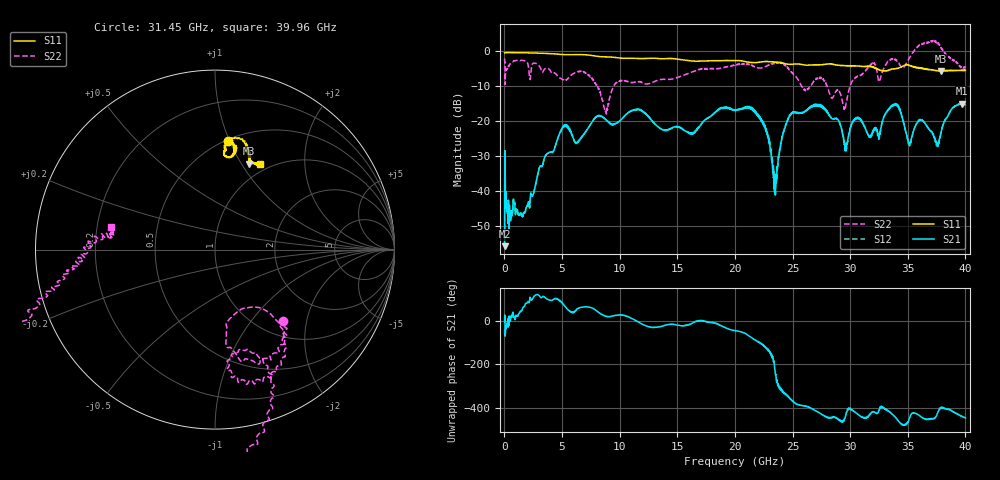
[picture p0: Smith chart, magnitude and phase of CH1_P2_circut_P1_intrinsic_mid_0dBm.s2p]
!Keysight Technologies,N5222B,MY61257109,A.17.25.03
!Date: Tuesday, July 21, 2026 12:10:29
!Correction: S11(C  2-Port  )
!S21(C  2-Port  )
!S12(C  2-Port  )
!S22(C  2-Port  )
!S2P File: Measurements: S11, S21, S12, S22:
# Hz S  dB  R 50
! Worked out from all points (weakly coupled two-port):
!   4000 points, 10 MHz to 40 GHz, reference 50 ohm
!   highest |S21| = -15.01 dB at 39.71 GHz (marker M1); lowest = -55.9 dB at 10 MHz (marker M2)
!   lowest |S11| = -5.8 dB at 37.9 GHz (marker M3), VSWR 3.12, Z = 41.3 + j53.9 ohm
!   |S11| at or under -10 dB: nowhere
!   |S22| runs from -18.0 to 3.1 dB; largest |S21 - S12| = 0.011
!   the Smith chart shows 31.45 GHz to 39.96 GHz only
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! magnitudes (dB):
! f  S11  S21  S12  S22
! 10 MHz  -0.5  -55.9  -55.8  -2.2
! 1.71 GHz  -0.5  -46.2  -46.2  -2.7
! 5.09 GHz  -1.0  -21.8  -21.8  -8.2
! 6.68 GHz  -1.0  -24.6  -24.6  -5.9
! 8.78 GHz  -1.6  -19.6  -19.6  -17.2
! 9.83 GHz  -1.9  -20.4  -20.4  -8.9
! 13.34 GHz  -2.1  -21.7  -21.7  -8.3
! 20.01 GHz  -2.7  -17.0  -17.0  -4.0
! 22.34 GHz  -3.1  -20.4  -20.3  -4.8
! 23.48 GHz  -3.2  -40.7  -36.3  -3.3
! 24.68 GHz  -3.8  -19.0  -19.1  -5.3
! 26.67 GHz  -3.9  -15.9  -16.0  -9.6
! 29.62 GHz  -4.2  -27.1  -27.2  -15.5
! 30.43 GHz  -4.2  -19.6  -19.3  -7.6
! 32.47 GHz  -5.3  -24.6  -24.1  -8.6
! 33.34 GHz  -5.5  -16.5  -16.8  -2.9
! 34.17 GHz  -4.9  -16.0  -16.0  -3.3
! 35.12 GHz  -4.1  -26.3  -26.4  -2.1
! 36.07 GHz  -4.9  -19.8  -19.7  1.8
! 37.9 GHz  -5.8  -23.2  -23.1  0.8
! 39.71 GHz  -5.6  -15.0  -15.2  -4.8
! 40 GHz  -5.5  -15.4  -15.3  -4.7
